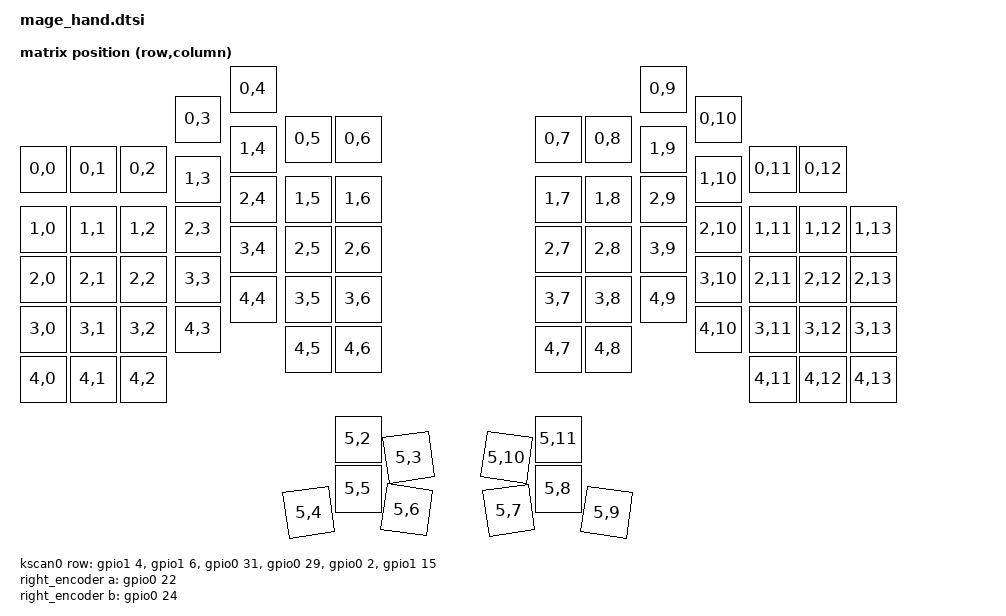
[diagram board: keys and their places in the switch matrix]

#include <dt-bindings/zmk/matrix_transform.h>
#include <dt-bindings/zmk/input_transform.h>
#include <dt-bindings/led/led.h>
#include <dt-bindings/zmk/ext_power.h>
#include <input/processors.dtsi>
#include <physical_layouts.dtsi>
#include <zephyr/dt-bindings/input/input-event-codes.h>

/{
    chosen {
        zmk,kscan            = &kscan0;
        zmk,matrix_transform = &default_transform;
    };

    default_transform: keymap_transform_0 {
        compatible = "zmk,matrix-transform";
        columns = <14>;
        rows = <6>;

        map = <
        RC(0,0) RC(0,1) RC(0,2) RC(0,3) RC(0,4) RC(0,5)	RC(0,6)         RC(0,7) RC(0,8) RC(0,9) RC(0,10) RC(0,11) RC(0,12) //Encoder
        RC(1,0) RC(1,1) RC(1,2) RC(1,3) RC(1,4) RC(1,5) RC(1,6)         RC(1,7) RC(1,8) RC(1,9) RC(1,10) RC(1,11) RC(1,12) RC(1,13)
        RC(2,0) RC(2,1) RC(2,2) RC(2,3) RC(2,4) RC(2,5) RC(2,6)         RC(2,7) RC(2,8) RC(2,9) RC(2,10) RC(2,11) RC(2,12) RC(2,13)
        RC(3,0) RC(3,1) RC(3,2) RC(3,3) RC(3,4) RC(3,5) RC(3,6)         RC(3,7) RC(3,8) RC(3,9) RC(3,10) RC(3,11) RC(3,12) RC(3,13)
        RC(4,0) RC(4,1) RC(4,2) RC(4,3) RC(4,4) RC(4,5) RC(4,6)         RC(4,7) RC(4,8) RC(4,9) RC(4,10) RC(4,11) RC(4,12) RC(4,13)
                                                                                                                    // Thumb clusters are wired like so :
                        RC(5,2)	RC(5,3) RC(5,4) RC(5,5) RC(5,6)         RC(5,7) RC(5,8) RC(5,9) RC(5,10) RC(5,11)   //    2,  3      10, 11
                                                                                                                    //4,  5,  6       7,  8,  9
                                                 
        >;
    };

    kscan0: kscan_0 {
        compatible = "zmk,kscan-gpio-matrix";
        wakeup-source;

        diode-direction = "col2row";
        row-gpios
             = <&gpio1  4 (GPIO_ACTIVE_HIGH | GPIO_PULL_DOWN)>
            ,  <&gpio1  6 (GPIO_ACTIVE_HIGH | GPIO_PULL_DOWN)> 
            ,  <&gpio0 31 (GPIO_ACTIVE_HIGH | GPIO_PULL_DOWN)> 
            ,  <&gpio0 29 (GPIO_ACTIVE_HIGH | GPIO_PULL_DOWN)> 
            ,  <&gpio0  2 (GPIO_ACTIVE_HIGH | GPIO_PULL_DOWN)> 
            ,  <&gpio1 15 (GPIO_ACTIVE_HIGH | GPIO_PULL_DOWN)> 
            ;
    };
    
    physical_layout0: physical_layout_0 {
        compatible = "zmk,physical-layout";
        display-name = "Default";

        kscan     = <&kscan0>;
        transform = <&default_transform>;

        keys  //                     w   h    x    y     rot    rx    ry
            = <&key_physical_attrs 100 100    0  160       0     0     0>
            , <&key_physical_attrs 100 100  100  160       0     0     0>
            , <&key_physical_attrs 100 100  200  160       0     0     0>
            , <&key_physical_attrs 100 100  310   60       0     0     0>
            , <&key_physical_attrs 100 100  420    0       0     0     0>
            , <&key_physical_attrs 100 100  530  100       0     0     0>
            , <&key_physical_attrs 100 100  630  100       0     0     0>
            , <&key_physical_attrs 100 100 1030  100       0     0     0>
            , <&key_physical_attrs 100 100 1130  100       0     0     0>
            , <&key_physical_attrs 100 100 1240    0       0     0     0>
            , <&key_physical_attrs 100 100 1350   60       0     0     0>
            , <&key_physical_attrs 100 100 1460  160       0     0     0>
            , <&key_physical_attrs 100 100 1560  160       0     0     0>
            , <&key_physical_attrs 100 100    0  280       0     0     0>
            , <&key_physical_attrs 100 100  100  280       0     0     0>
            , <&key_physical_attrs 100 100  200  280       0     0     0>
            , <&key_physical_attrs 100 100  310  180       0     0     0>
            , <&key_physical_attrs 100 100  420  120       0     0     0>
            , <&key_physical_attrs 100 100  530  220       0     0     0>
            , <&key_physical_attrs 100 100  630  220       0     0     0>
            , <&key_physical_attrs 100 100 1030  220       0     0     0>
            , <&key_physical_attrs 100 100 1130  220       0     0     0>
            , <&key_physical_attrs 100 100 1240  120       0     0     0>
            , <&key_physical_attrs 100 100 1350  180       0     0     0>
            , <&key_physical_attrs 100 100 1460  280       0     0     0>
            , <&key_physical_attrs 100 100 1560  280       0     0     0>
            , <&key_physical_attrs 100 100 1660  280       0     0     0>
            , <&key_physical_attrs 100 100    0  380       0     0     0>
            , <&key_physical_attrs 100 100  100  380       0     0     0>
            , <&key_physical_attrs 100 100  200  380       0     0     0>
            , <&key_physical_attrs 100 100  310  280       0     0     0>
            , <&key_physical_attrs 100 100  420  220       0     0     0>
            , <&key_physical_attrs 100 100  530  320       0     0     0>
            , <&key_physical_attrs 100 100  630  320       0     0     0>
            , <&key_physical_attrs 100 100 1030  320       0     0     0>
            , <&key_physical_attrs 100 100 1130  320       0     0     0>
            , <&key_physical_attrs 100 100 1240  220       0     0     0>
            , <&key_physical_attrs 100 100 1350  280       0     0     0>
            , <&key_physical_attrs 100 100 1460  380       0     0     0>
            , <&key_physical_attrs 100 100 1560  380       0     0     0>
            , <&key_physical_attrs 100 100 1660  380       0     0     0>
            , <&key_physical_attrs 100 100    0  480       0     0     0>
            , <&key_physical_attrs 100 100  100  480       0     0     0>
            , <&key_physical_attrs 100 100  200  480       0     0     0>
            , <&key_physical_attrs 100 100  310  380       0     0     0>
            , <&key_physical_attrs 100 100  420  320       0     0     0>
            , <&key_physical_attrs 100 100  530  420       0     0     0>
            , <&key_physical_attrs 100 100  630  420       0     0     0>
            , <&key_physical_attrs 100 100 1030  420       0     0     0>
            , <&key_physical_attrs 100 100 1130  420       0     0     0>
            , <&key_physical_attrs 100 100 1240  320       0     0     0>
            , <&key_physical_attrs 100 100 1350  380       0     0     0>
            , <&key_physical_attrs 100 100 1460  480       0     0     0>
            , <&key_physical_attrs 100 100 1560  480       0     0     0>
            , <&key_physical_attrs 100 100 1660  480       0     0     0>
            , <&key_physical_attrs 100 100    0  580       0     0     0>
            , <&key_physical_attrs 100 100  100  580       0     0     0>
            , <&key_physical_attrs 100 100  200  580       0     0     0>
            , <&key_physical_attrs 100 100  310  480       0     0     0>
            , <&key_physical_attrs 100 100  420  420       0     0     0>
            , <&key_physical_attrs 100 100  530  520       0     0     0>
            , <&key_physical_attrs 100 100  630  520       0     0     0>
            , <&key_physical_attrs 100 100 1030  520       0     0     0>
            , <&key_physical_attrs 100 100 1130  520       0     0     0>
            , <&key_physical_attrs 100 100 1240  420       0     0     0>
            , <&key_physical_attrs 100 100 1350  480       0     0     0>
            , <&key_physical_attrs 100 100 1460  580       0     0     0>
            , <&key_physical_attrs 100 100 1560  580       0     0     0>
            , <&key_physical_attrs 100 100 1660  580       0     0     0>
            , <&key_physical_attrs 100 100  630  700       0     0     0>
            , <&key_physical_attrs 100 100  725  744  (-800)   725   744>
            , <&key_physical_attrs 100 100  525  854  (-800)   525   854>
            , <&key_physical_attrs 100 100  630  800       0     0     0>
            , <&key_physical_attrs 100 100  735  835     800   735   835>
            , <&key_physical_attrs 100 100  925  850  (-800)   925   850>
            , <&key_physical_attrs 100 100 1030  800       0     0     0>
            , <&key_physical_attrs 100 100 1135  840     800  1135   840>
            , <&key_physical_attrs 100 100  935  730     800   935   730>
            , <&key_physical_attrs 100 100 1030  700       0     0     0>
            ;
    };

	sensors {
		compatible = "zmk,keymap-sensors";
		sensors = <&right_encoder>;
		triggers-per-rotation = <20>;
	};

	right_encoder: right_encoder {
		compatible = "alps,ec11";
		a-gpios = <&gpio0 22 (GPIO_ACTIVE_HIGH | GPIO_PULL_UP)>;
		b-gpios = <&gpio0 24 (GPIO_ACTIVE_HIGH | GPIO_PULL_UP)>;
		steps = <80>;
		status = "disabled";
	};

	split_inputs {
        #address-cells = <1>;
        #size-cells = <0>;

        trackball_peripheral_split: trackball_peripheral_split@0 {
            compatible = "zmk,input-split";
            reg = <0>;
        };
    };
    
    trackball_peripheral_listener: trackball_peripheral_listener {
        compatible = "zmk,input-listener";
        status = "disabled";
        device = <&trackball_peripheral_split>;

        //<&zip_xy_transform INPUT_TRANSFORM_XY_SWAP>,      // this gets it to the default installation orientation
        input-processors =  <&zip_xy_scaler 1 16>,       					  // multiply sensitivity by 1, divide by 3 (make it slower for scrolling)
                            <&zip_xy_to_scroll_mapper>, 					  // make this trackball output scrolling events by default instead of cursor movement
                            <&zip_scroll_transform INPUT_TRANSFORM_Y_INVERT>; // invert vertical scrolling so that the view moves in the same direction as the top of the trackball.
        /*
        input-processors =  <&zip_xy_transform INPUT_TRANSFORM_X_INVERT>,
                            <&zip_xy_transform INPUT_TRANSFORM_Y_INVERT>,
                            <&zip_xy_transform INPUT_TRANSFORM_XY_SWAP>,
                            <&zip_temp_layer 3 500>;
                            */
    };
};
